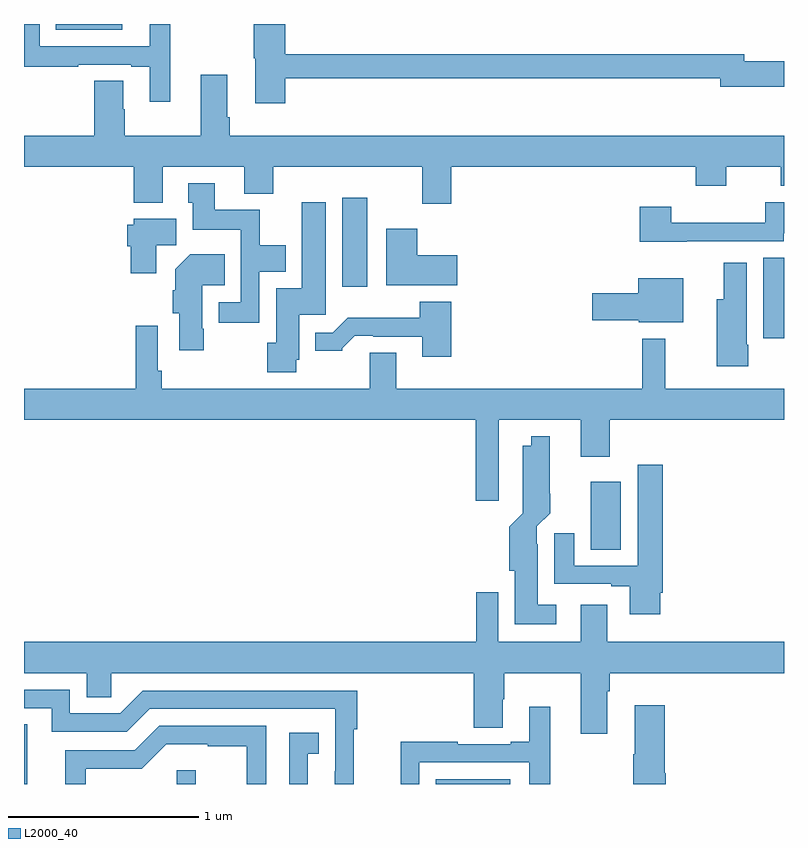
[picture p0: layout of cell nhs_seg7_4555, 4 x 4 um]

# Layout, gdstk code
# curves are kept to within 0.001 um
import gdstk
lib = gdstk.Library(unit=1e-6, precision=1e-09)
def R(c, l, rs):  # rectangles x0, y0, x1, y1
    for r in rs: c.add(gdstk.rectangle(r[:2], r[2:], *l))
def P(c, l, *ps):  # polygons
    for p in ps: c.add(gdstk.Polygon(p, *l))
L2000_40 = (2000, 40)

nhs_seg7_4555 = lib.new_cell('nhs_seg7_4555')
R(nhs_seg7_4555, L2000_40, [(397.803,1032,397.904,1032.073), (399.166,1032,399.559,1032.025), (399.983,1033.234,400.141,1033.591), (400.892,1034.346,401,1034.771), (398.675,1034.616,398.806,1035.085), (397.168,1035.971,397.516,1036)])
P(nhs_seg7_4555, L2000_40, [(397.771,1036),(397.661,1036),(397.661,1035.882),(397.083,1035.882),(397.083,1036),(397,1036),(397,1035.774),(397.286,1035.774),(397.286,1035.786),(397.565,1035.786),(397.565,1035.774),(397.661,1035.774),(397.661,1035.591),(397.771,1035.591)],
  [(398.375,1035.714),(400.664,1035.714),(400.664,1035.671),(401,1035.671),(401,1035.805),(400.792,1035.805),(400.792,1035.842),(398.375,1035.842),(398.375,1036),(398.209,1036),(398.209,1035.819),(398.216,1035.819),(398.216,1035.582),(398.375,1035.582)],
  [(399.248,1035.248),(400.535,1035.248),(400.535,1035.149),(400.695,1035.149),(400.695,1035.248),(400.984,1035.248),(400.984,1035.149),(401,1035.149),(401,1035.412),(398.084,1035.412),(398.084,1035.508),(398.071,1035.508),(398.071,1035.733),(397.931,1035.733),(397.931,1035.412),(397.53,1035.412),(397.53,1035.551),(397.522,1035.551),(397.522,1035.701),(397.37,1035.701),(397.37,1035.412),(397,1035.412),(397,1035.248),(397.577,1035.248),(397.577,1035.059),(397.729,1035.059),(397.729,1035.248),(398.159,1035.248),(398.159,1035.107),(398.312,1035.107),(398.312,1035.248),(399.095,1035.248),(399.095,1035.054),(399.248,1035.054)],
  [(398.238,1034.696),(398.377,1034.696),(398.377,1034.836),(398.241,1034.836),(398.241,1035.022),(398.005,1035.022),(398.005,1035.163),(397.865,1035.163),(397.865,1035.06),(397.889,1035.06),(397.889,1034.918),(398.142,1034.918),(398.142,1034.535),(398.025,1034.535),(398.025,1034.427),(398.238,1034.427)],
  [(400.489,1034.856),(400.998,1034.856),(400.998,1034.9),(401,1034.9),(401,1035.061),(400.902,1035.061),(400.902,1034.954),(400.406,1034.954),(400.406,1035.037),(400.241,1035.037),(400.241,1034.855),(400.489,1034.855)],
  [(398.433,1034.232),(398.449,1034.232),(398.449,1034.469),(398.587,1034.469),(398.587,1035.061),(398.462,1035.061),(398.462,1034.608),(398.327,1034.608),(398.327,1034.322),(398.281,1034.322),(398.281,1034.166),(398.433,1034.166)],
  [(397.696,1034.836),(397.801,1034.836),(397.801,1034.974),(397.578,1034.974),(397.578,1034.943),(397.544,1034.943),(397.544,1034.829),(397.562,1034.829),(397.562,1034.688),(397.696,1034.688)],
  [(399.28,1034.782),(399.07,1034.782),(399.07,1034.923),(398.906,1034.923),(398.906,1034.624),(399.28,1034.624)],
  [(397.947,1034.395),(397.939,1034.395),(397.939,1034.624),(398.057,1034.624),(398.057,1034.788),(397.874,1034.788),(397.796,1034.71),(397.796,1034.6),(397.784,1034.6),(397.784,1034.478),(397.817,1034.478),(397.817,1034.283),(397.947,1034.283)],
  [(400.812,1034.311),(400.804,1034.311),(400.804,1034.743),(400.682,1034.743),(400.682,1034.551),(400.646,1034.551),(400.646,1034.199),(400.812,1034.199)],
  [(400.471,1034.662),(400.232,1034.662),(400.232,1034.582),(399.99,1034.582),(399.99,1034.44),(400.236,1034.44),(400.236,1034.429),(400.471,1034.429)],
  [(399.248,1034.539),(399.083,1034.539),(399.083,1034.455),(398.704,1034.455),(398.625,1034.376),(398.534,1034.376),(398.534,1034.279),(398.676,1034.279),(398.676,1034.294),(398.74,1034.358),(398.839,1034.358),(398.839,1034.355),(399.095,1034.355),(399.095,1034.25),(399.248,1034.25)],
  [(399.499,1033.916),(399.929,1033.916),(399.929,1033.722),(400.082,1033.722),(400.082,1033.916),(401,1033.916),(401,1034.08),(400.376,1034.08),(400.376,1034.344),(400.255,1034.344),(400.255,1034.08),(398.959,1034.08),(398.959,1034.27),(398.819,1034.27),(398.819,1034.08),(397.724,1034.08),(397.724,1034.176),(397.704,1034.176),(397.704,1034.413),(397.588,1034.413),(397.588,1034.08),(397,1034.08),(397,1033.916),(399.377,1033.916),(399.377,1033.491),(399.499,1033.491)],
  [(399.802,1032.943),(399.703,1032.943),(399.703,1033.262),(399.699,1033.262),(399.699,1033.356),(399.769,1033.426),(399.768,1033.831),(399.671,1033.831),(399.671,1033.78),(399.626,1033.78),(399.626,1033.426),(399.554,1033.354),(399.554,1033.122),(399.584,1033.122),(399.584,1032.842),(399.802,1032.842)],
  [(400.348,1033.006),(400.361,1033.006),(400.361,1033.68),(400.229,1033.68),(400.229,1033.149),(399.895,1033.149),(399.895,1033.321),(399.791,1033.321),(399.791,1033.053),(400.091,1033.053),(400.091,1033.041),(400.187,1033.041),(400.187,1032.894),(400.348,1032.894)],
  [(397,1032.584),(397.331,1032.584),(397.331,1032.457),(397.458,1032.457),(397.458,1032.584),(399.368,1032.584),(399.368,1032.295),(399.52,1032.295),(399.52,1032.446),(399.528,1032.446),(399.528,1032.584),(399.929,1032.584),(399.929,1032.264),(400.069,1032.264),(400.069,1032.488),(400.082,1032.488),(400.082,1032.584),(401,1032.584),(401,1032.748),(400.069,1032.748),(400.069,1032.943),(399.929,1032.943),(399.929,1032.748),(399.495,1032.748),(399.495,1033.009),(399.379,1033.009),(399.379,1032.748),(397,1032.748)],
  [(398.736,1032.289),(398.753,1032.289),(398.753,1032.492),(397.626,1032.492),(397.506,1032.372),(397.242,1032.372),(397.242,1032.495),(397,1032.495),(397,1032.399),(397.146,1032.399),(397.146,1032.276),(397.542,1032.276),(397.662,1032.396),(398.637,1032.396),(398.636,1032),(398.736,1032)],
  [(400.378,1032.057),(400.373,1032.057),(400.373,1032.415),(400.214,1032.415),(400.214,1032.157),(400.207,1032.157),(400.207,1032),(400.378,1032)],
  [(399.081,1032.114),(399.66,1032.114),(399.66,1032),(399.769,1032),(399.769,1032.406),(399.659,1032.406),(399.659,1032.223),(399.563,1032.223),(399.563,1032.21),(399.284,1032.21),(399.284,1032.223),(398.983,1032.223),(398.983,1032),(399.081,1032)],
  [(397.018,1032.203),(397.016,1032.203),(397.016,1032.314),(397,1032.314),(397,1032),(397.018,1032)],
  [(397.324,1032.081),(397.62,1032.081),(397.748,1032.209),(397.967,1032.209),(397.967,1032.198),(398.173,1032.198),(398.173,1032),(398.274,1032),(398.274,1032.306),(397.713,1032.306),(397.584,1032.177),(397.217,1032.177),(397.217,1032),(397.324,1032)],
  [(398.494,1032.158),(398.552,1032.158),(398.552,1032.271),(398.397,1032.271),(398.397,1032),(398.494,1032)])

lib.write_gds('nhs_seg7_4555.gds')
